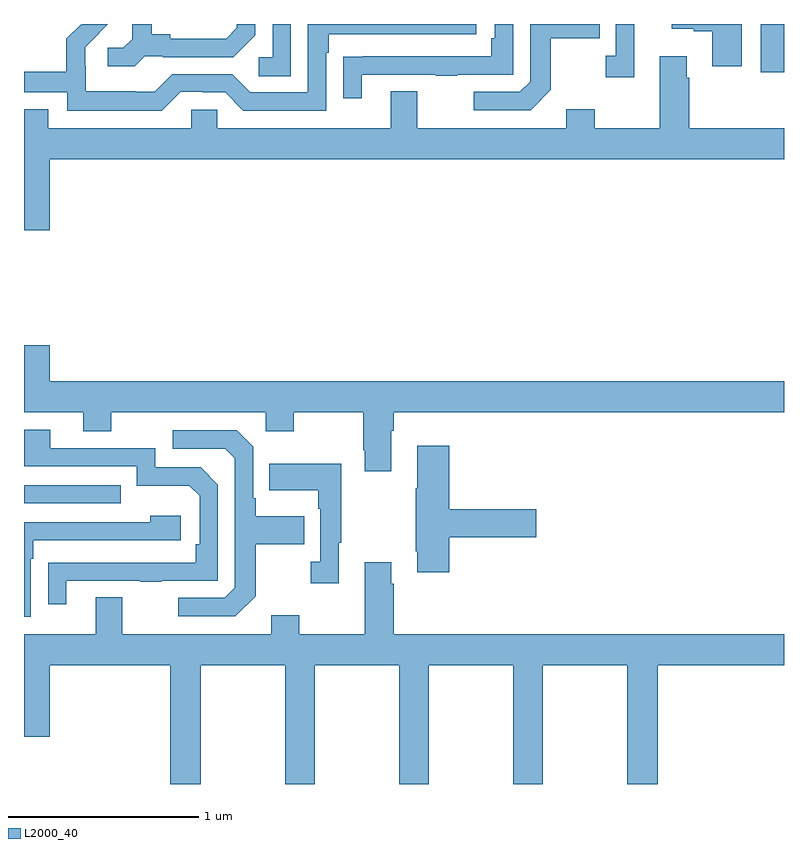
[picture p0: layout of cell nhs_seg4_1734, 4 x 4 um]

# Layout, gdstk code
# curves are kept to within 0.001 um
import gdstk
lib = gdstk.Library(unit=1e-6, precision=1e-09)
def R(c, l, rs):  # rectangles x0, y0, x1, y1
    for r in rs: c.add(gdstk.rectangle(r[:2], r[2:], *l))
def P(c, l, *ps):  # polygons
    for p in ps: c.add(gdstk.Polygon(p, *l))
L2000_40 = (2000, 40)

nhs_seg4_1734 = lib.new_cell('nhs_seg4_1734')
R(nhs_seg4_1734, L2000_40, [(201,760.377,201.509,760.473), (204.878,762.645,205,762.9)])
P(nhs_seg4_1734, L2000_40, [(201.825,762.543),(201.941,762.543),(201.941,762.54),(202.059,762.54),(202.155,762.444),(202.59,762.444),(202.59,762.749),(202.603,762.749),(202.603,762.846),(203.38,762.846),(203.38,762.9),(202.494,762.9),(202.494,762.54),(202.191,762.54),(202.095,762.636),(201.78,762.636),(201.687,762.543),(201.587,762.543),(201.587,762.547),(201.324,762.547),(201.324,762.681),(201.322,762.681),(201.322,762.778),(201.442,762.9),(201.306,762.9),(201.303,762.897),(201.3,762.9),(201.223,762.823),(201.223,762.649),(201,762.649),(201,762.54),(201.228,762.54),(201.228,762.443),(201.725,762.443)],
  [(201.636,762.729),(201.73,762.729),(201.73,762.726),(202.102,762.726),(202.218,762.842),(202.218,762.9),(202.121,762.9),(202.121,762.879),(202.064,762.822),(201.769,762.822),(201.769,762.845),(201.673,762.845),(201.673,762.9),(201.569,762.9),(201.569,762.821),(201.522,762.774),(201.441,762.774),(201.441,762.677),(201.584,762.677)],
  [(204.778,762.9),(204.408,762.9),(204.408,762.875),(204.524,762.875),(204.524,762.863),(204.623,762.863),(204.623,762.678),(204.778,762.678)],
  [(203.773,762.553),(203.773,762.826),(204.029,762.826),(204.029,762.9),(203.664,762.9),(203.664,762.597),(203.61,762.543),(203.367,762.543),(203.367,762.447),(203.667,762.447)],
  [(204.212,762.9),(204.114,762.9),(204.114,762.734),(204.063,762.734),(204.063,762.621),(204.212,762.621)],
  [(202.404,762.9),(202.308,762.9),(202.308,762.726),(202.236,762.726),(202.236,762.625),(202.404,762.625)],
  [(202.777,762.633),(203.167,762.633),(203.167,762.628),(203.279,762.628),(203.279,762.633),(203.574,762.633),(203.574,762.9),(203.478,762.9),(203.478,762.826),(203.458,762.826),(203.458,762.729),(202.783,762.729),(202.783,762.728),(202.681,762.728),(202.681,762.51),(202.777,762.51)],
  [(201.136,762.188),(205,762.188),(205,762.352),(204.5,762.352),(204.5,762.617),(204.487,762.617),(204.487,762.73),(204.347,762.73),(204.347,762.352),(204.003,762.352),(204.003,762.451),(203.855,762.451),(203.855,762.352),(203.071,762.352),(203.071,762.547),(202.931,762.547),(202.931,762.352),(202.017,762.352),(202.017,762.45),(201.879,762.45),(201.879,762.352),(201.127,762.352),(201.127,762.451),(201,762.451),(201,761.814),(201.136,761.814)],
  [(202.933,760.76),(202.946,760.76),(202.946,760.856),(205,760.856),(205,761.02),(201.136,761.02),(201.136,761.209),(201,761.209),(201,760.856),(201.311,760.856),(201.311,760.757),(201.459,760.757),(201.459,760.856),(202.272,760.856),(202.272,760.757),(202.419,760.757),(202.419,760.856),(202.786,760.856),(202.786,760.657),(202.793,760.657),(202.793,760.545),(202.933,760.545)],
  [(201.223,759.969),(201.613,759.969),(201.613,759.964),(201.725,759.964),(201.725,759.969),(202.02,759.969),(202.02,760.476),(201.93,760.566),(201.69,760.566),(201.69,760.668),(201.139,760.668),(201.139,760.764),(201,760.764),(201,760.572),(201.594,760.572),(201.594,760.469),(201.871,760.469),(201.924,760.416),(201.924,760.162),(201.904,760.162),(201.904,760.065),(201.127,760.064),(201.127,759.846),(201.223,759.846)],
  [(202.219,759.889),(202.219,760.162),(202.475,760.162),(202.475,760.309),(202.219,760.309),(202.219,760.405),(202.206,760.405),(202.206,760.674),(202.119,760.761),(201.783,760.761),(201.783,760.665),(202.059,760.665),(202.11,760.614),(202.11,759.933),(202.056,759.879),(201.813,759.879),(201.813,759.783),(202.113,759.783)],
  [(203.237,760.199),(203.695,760.199),(203.695,760.346),(203.237,760.346),(203.237,760.681),(203.069,760.681),(203.069,760.457),(203.062,760.457),(203.062,760.126),(203.069,760.126),(203.069,760.014),(203.237,760.014)],
  [(202.657,760.169),(202.669,760.169),(202.669,760.585),(202.291,760.585),(202.291,760.445),(202.548,760.445),(202.548,760.349),(202.56,760.349),(202.56,760.07),(202.509,760.07),(202.509,759.957),(202.657,759.957)],
  [(201.036,760.085),(201.049,760.085),(201.049,760.182),(201.826,760.182),(201.826,760.312),(201.665,760.312),(201.665,760.278),(201,760.278),(201,759.78),(201.036,759.78)],
  [(201.93,759.524),(202.375,759.524),(202.375,758.9),(202.53,758.9),(202.53,759.524),(202.975,759.524),(202.975,758.9),(203.13,758.9),(203.13,759.524),(203.575,759.524),(203.575,758.9),(203.73,758.9),(203.73,759.524),(204.175,759.524),(204.175,758.9),(204.335,758.9),(204.335,759.524),(205,759.524),(205,759.688),(202.946,759.688),(202.946,759.953),(202.933,759.953),(202.933,760.066),(202.793,760.066),(202.793,759.688),(202.449,759.688),(202.449,759.787),(202.301,759.787),(202.301,759.688),(201.517,759.688),(201.517,759.883),(201.377,759.883),(201.377,759.688),(201,759.688),(201,759.15),(201.136,759.15),(201.136,759.524),(201.77,759.524),(201.77,758.9),(201.93,758.9)])

lib.write_gds('nhs_seg4_1734.gds')
